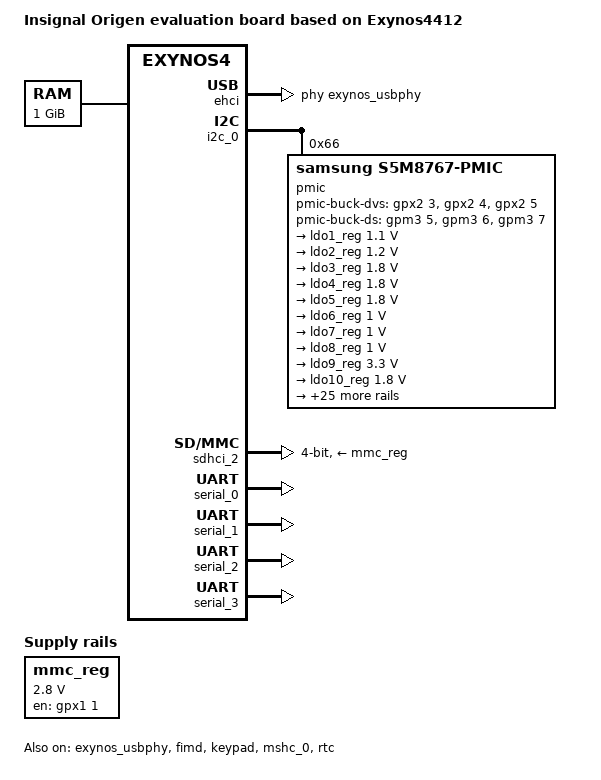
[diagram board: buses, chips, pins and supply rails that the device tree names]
// SPDX-License-Identifier: GPL-2.0
/*
 * Insignal's Exynos4412 based Origen board device tree source
 *
 * Copyright (c) 2012-2013 Samsung Electronics Co., Ltd.
 *		http://www.samsung.com
 *
 * Device tree source file for Insignal's Origen board which is based on
 * Samsung's Exynos4412 SoC.
 */

/dts-v1/;
#include "exynos4412.dtsi"
#include <dt-bindings/clock/samsung,s2mps11.h>
#include <dt-bindings/gpio/gpio.h>
#include <dt-bindings/input/input.h>
#include "exynos-mfc-reserved-memory.dtsi"

/ {
	model = "Insignal Origen evaluation board based on Exynos4412";
	compatible = "insignal,origen4412", "samsung,exynos4412", "samsung,exynos4";

	memory@40000000 {
		device_type = "memory";
		reg = <0x40000000 0x40000000>;
	};

	chosen {
		stdout-path = "serial2:115200n8";
	};

	firmware@203f000 {
		compatible = "samsung,secure-firmware";
		reg = <0x0203F000 0x1000>;
	};

	mmc_reg: regulator-0 {
		compatible = "regulator-fixed";
		regulator-name = "VMEM_VDD_2.8V";
		regulator-min-microvolt = <2800000>;
		regulator-max-microvolt = <2800000>;
		gpio = <&gpx1 1 GPIO_ACTIVE_HIGH>;
		enable-active-high;
	};

	display-timings {
		native-mode = <&timing0>;
		timing0: timing {
			clock-frequency = <47500000>;
			hactive = <1024>;
			vactive = <600>;
			hfront-porch = <64>;
			hback-porch = <16>;
			hsync-len = <48>;
			vback-porch = <64>;
			vfront-porch = <16>;
			vsync-len = <3>;
		};
	};

	fixed-rate-clocks {
		xxti {
			compatible = "samsung,clock-xxti";
			clock-frequency = <0>;
		};

		xusbxti {
			compatible = "samsung,clock-xusbxti";
			clock-frequency = <24000000>;
		};
	};
};

&cpu0 {
	cpu0-supply = <&buck2_reg>;
};

&cpu_thermal {
	cooling-maps {
		cooling_map0: map0 {
			/* Corresponds to 800MHz at freq_table */
			cooling-device = <&cpu0 7 7>, <&cpu1 7 7>,
					 <&cpu2 7 7>, <&cpu3 7 7>;
		};
		cooling_map1: map1 {
			/* Corresponds to 200MHz at freq_table */
			cooling-device = <&cpu0 13 13>, <&cpu1 13 13>,
					 <&cpu2 13 13>, <&cpu3 13 13>;
		};
	};
};

&exynos_usbphy {
	status = "okay";
};

&ehci {
	samsung,vbus-gpio = <&gpx3 5 GPIO_ACTIVE_HIGH>;
	status = "okay";
	phys = <&exynos_usbphy 2>, <&exynos_usbphy 3>;
	phy-names = "hsic0", "hsic1";
};

&fimd {
	pinctrl-0 = <&lcd_clk &lcd_data24 &pwm1_out>;
	pinctrl-names = "default";
	status = "okay";
};

&i2c_0 {
	#address-cells = <1>;
	#size-cells = <0>;
	samsung,i2c-sda-delay = <100>;
	samsung,i2c-max-bus-freq = <20000>;
	pinctrl-0 = <&i2c0_bus>;
	pinctrl-names = "default";
	status = "okay";

	pmic@66 {
		compatible = "samsung,s5m8767-pmic";
		reg = <0x66>;

		s5m8767,pmic-buck-default-dvs-idx = <3>;

		s5m8767,pmic-buck-dvs-gpios = <&gpx2 3 GPIO_ACTIVE_HIGH>,
						 <&gpx2 4 GPIO_ACTIVE_HIGH>,
						 <&gpx2 5 GPIO_ACTIVE_HIGH>;

		s5m8767,pmic-buck-ds-gpios = <&gpm3 5 GPIO_ACTIVE_HIGH>,
						<&gpm3 6 GPIO_ACTIVE_HIGH>,
						<&gpm3 7 GPIO_ACTIVE_HIGH>;

		s5m8767,pmic-buck2-dvs-voltage = <1250000>, <1200000>,
						 <1200000>, <1200000>,
						 <1200000>, <1200000>,
						 <1200000>, <1200000>;

		s5m8767,pmic-buck3-dvs-voltage = <1100000>, <1100000>,
						 <1100000>, <1100000>,
						 <1100000>, <1100000>,
						 <1100000>, <1100000>;

		s5m8767,pmic-buck4-dvs-voltage = <1200000>, <1200000>,
						 <1200000>, <1200000>,
						 <1200000>, <1200000>,
						 <1200000>, <1200000>;
		wakeup-source;

		s5m8767_osc: clocks {
			compatible = "samsung,s5m8767-clk";
			#clock-cells = <1>;
			clock-output-names = "s5m8767_ap", "s5m8767_cp",
					     "s5m8767_bt";
		};

		regulators {
			ldo1_reg: LDO1 {
				regulator-name = "VDD_ALIVE";
				regulator-min-microvolt = <1100000>;
				regulator-max-microvolt = <1100000>;
				regulator-always-on;
				regulator-boot-on;
				op_mode = <1>; /* Normal Mode */
			};

			ldo2_reg: LDO2 {
				regulator-name = "VDDQ_M12";
				regulator-min-microvolt = <1200000>;
				regulator-max-microvolt = <1200000>;
				regulator-always-on;
				op_mode = <1>; /* Normal Mode */
			};

			ldo3_reg: LDO3 {
				regulator-name = "VDDIOAP_18";
				regulator-min-microvolt = <1800000>;
				regulator-max-microvolt = <1800000>;
				regulator-always-on;
				op_mode = <1>; /* Normal Mode */
			};

			ldo4_reg: LDO4 {
				regulator-name = "VDDQ_PRE";
				regulator-min-microvolt = <1800000>;
				regulator-max-microvolt = <1800000>;
				regulator-always-on;
				op_mode = <1>; /* Normal Mode */
			};

			ldo5_reg: LDO5 {
				regulator-name = "VDD18_2M";
				regulator-min-microvolt = <1800000>;
				regulator-max-microvolt = <1800000>;
				regulator-always-on;
				op_mode = <1>; /* Normal Mode */
			};

			ldo6_reg: LDO6 {
				regulator-name = "VDD10_MPLL";
				regulator-min-microvolt = <1000000>;
				regulator-max-microvolt = <1000000>;
				regulator-always-on;
				op_mode = <1>; /* Normal Mode */
			};

			ldo7_reg: LDO7 {
				regulator-name = "VDD10_XPLL";
				regulator-min-microvolt = <1000000>;
				regulator-max-microvolt = <1000000>;
				regulator-always-on;
				op_mode = <1>; /* Normal Mode */
			};

			ldo8_reg: LDO8 {
				regulator-name = "VDD10_MIPI";
				regulator-min-microvolt = <1000000>;
				regulator-max-microvolt = <1000000>;
				regulator-always-on;
				op_mode = <1>; /* Normal Mode */
			};

			ldo9_reg: LDO9 {
				regulator-name = "VDD33_LCD";
				regulator-min-microvolt = <3300000>;
				regulator-max-microvolt = <3300000>;
				regulator-always-on;
				op_mode = <1>; /* Normal Mode */
			};

			ldo10_reg: LDO10 {
				regulator-name = "VDD18_MIPI";
				regulator-min-microvolt = <1800000>;
				regulator-max-microvolt = <1800000>;
				regulator-always-on;
				op_mode = <1>; /* Normal Mode */
			};

			ldo11_reg: LDO11 {
				regulator-name = "VDD18_ABB1";
				regulator-min-microvolt = <1800000>;
				regulator-max-microvolt = <1800000>;
				regulator-always-on;
				op_mode = <1>; /* Normal Mode */
			};

			ldo12_reg: LDO12 {
				regulator-name = "VDD33_UOTG";
				regulator-min-microvolt = <3300000>;
				regulator-max-microvolt = <3300000>;
				regulator-always-on;
				op_mode = <1>; /* Normal Mode */
			};

			ldo13_reg: LDO13 {
				regulator-name = "VDDIOPERI_18";
				regulator-min-microvolt = <1800000>;
				regulator-max-microvolt = <1800000>;
				regulator-always-on;
				op_mode = <1>; /* Normal Mode */
			};

			ldo14_reg: LDO14 {
				regulator-name = "VDD18_ABB02";
				regulator-min-microvolt = <1800000>;
				regulator-max-microvolt = <1800000>;
				regulator-always-on;
				op_mode = <1>; /* Normal Mode */
			};

			ldo15_reg: LDO15 {
				regulator-name = "VDD10_USH";
				regulator-min-microvolt = <1000000>;
				regulator-max-microvolt = <1000000>;
				regulator-always-on;
				op_mode = <1>; /* Normal Mode */
			};

			ldo16_reg: LDO16 {
				regulator-name = "VDD18_HSIC";
				regulator-min-microvolt = <1800000>;
				regulator-max-microvolt = <1800000>;
				regulator-always-on;
				op_mode = <1>; /* Normal Mode */
			};

			ldo17_reg: LDO17 {
				regulator-name = "VDDIOAP_MMC012_28";
				regulator-min-microvolt = <2800000>;
				regulator-max-microvolt = <2800000>;
				regulator-always-on;
				op_mode = <1>; /* Normal Mode */
			};

			ldo18_reg: LDO18 {
				regulator-name = "VDDIOPERI_28";
				regulator-min-microvolt = <2800000>;
				regulator-max-microvolt = <2800000>;
				regulator-always-on;
				op_mode = <1>; /* Normal Mode */
			};

			ldo19_reg: LDO19 {
				regulator-name = "DVDD25";
				regulator-min-microvolt = <2500000>;
				regulator-max-microvolt = <2500000>;
				regulator-always-on;
				op_mode = <1>; /* Normal Mode */
			};

			ldo20_reg: LDO20 {
				regulator-name = "VDD28_CAM";
				regulator-min-microvolt = <2800000>;
				regulator-max-microvolt = <2800000>;
				regulator-always-on;
				op_mode = <1>; /* Normal Mode */
			};

			ldo21_reg: LDO21 {
				regulator-name = "VDD28_AF";
				regulator-min-microvolt = <2800000>;
				regulator-max-microvolt = <2800000>;
				regulator-always-on;
				op_mode = <1>; /* Normal Mode */
			};

			ldo22_reg: LDO22 {
				regulator-name = "VDDA28_2M";
				regulator-min-microvolt = <2800000>;
				regulator-max-microvolt = <2800000>;
				regulator-always-on;
				op_mode = <1>; /* Normal Mode */
			};

			ldo23_reg: LDO23 {
				regulator-name = "VDD28_TF";
				regulator-min-microvolt = <2800000>;
				regulator-max-microvolt = <2800000>;
				regulator-always-on;
				op_mode = <1>; /* Normal Mode */
			};

			ldo24_reg: LDO24 {
				regulator-name = "VDD33_A31";
				regulator-min-microvolt = <3300000>;
				regulator-max-microvolt = <3300000>;
				regulator-always-on;
				op_mode = <1>; /* Normal Mode */
			};

			ldo25_reg: LDO25 {
				regulator-name = "VDD18_CAM";
				regulator-min-microvolt = <1800000>;
				regulator-max-microvolt = <1800000>;
				regulator-always-on;
				op_mode = <1>; /* Normal Mode */
			};

			ldo26_reg: LDO26 {
				regulator-name = "VDD18_A31";
				regulator-min-microvolt = <1800000>;
				regulator-max-microvolt = <1800000>;
				regulator-always-on;
				op_mode = <1>; /* Normal Mode */
			};

			ldo27_reg: LDO27 {
				regulator-name = "GPS_1V8";
				regulator-min-microvolt = <1800000>;
				regulator-max-microvolt = <1800000>;
				regulator-always-on;
				op_mode = <1>; /* Normal Mode */
			};

			ldo28_reg: LDO28 {
				regulator-name = "DVDD12";
				regulator-min-microvolt = <1200000>;
				regulator-max-microvolt = <1200000>;
				regulator-always-on;
				op_mode = <1>; /* Normal Mode */
			};

			buck1_reg: BUCK1 {
				regulator-name = "VDD_MIF";
				regulator-min-microvolt = <950000>;
				regulator-max-microvolt	= <1100000>;
				regulator-always-on;
				regulator-boot-on;
				op_mode = <1>; /* Normal Mode */
			};

			buck2_reg: BUCK2 {
				regulator-name = "VDD_ARM";
				regulator-min-microvolt = <900000>;
				regulator-max-microvolt	= <1350000>;
				regulator-always-on;
				regulator-boot-on;
				op_mode = <1>; /* Normal Mode */
			};

			buck3_reg: BUCK3 {
				regulator-name = "VDD_INT";
				regulator-min-microvolt = <900000>;
				regulator-max-microvolt	= <1200000>;
				regulator-always-on;
				regulator-boot-on;
				op_mode = <1>; /* Normal Mode */
			};

			buck4_reg: BUCK4 {
				regulator-name = "VDD_G3D";
				regulator-min-microvolt = <750000>;
				regulator-max-microvolt	= <1500000>;
				regulator-always-on;
				regulator-boot-on;
				op_mode = <1>; /* Normal Mode */
			};

			buck5_reg: BUCK5 {
				regulator-name = "VDD_M12";
				regulator-min-microvolt = <750000>;
				regulator-max-microvolt	= <1500000>;
				regulator-always-on;
				regulator-boot-on;
				op_mode = <1>; /* Normal Mode */
			};

			buck6_reg: BUCK6 {
				regulator-name = "VDD12_5M";
				regulator-min-microvolt = <750000>;
				regulator-max-microvolt	= <1500000>;
				regulator-always-on;
				regulator-boot-on;
				op_mode = <1>; /* Normal Mode */
			};

			buck9_reg: BUCK9 {
				regulator-name = "VDDF28_EMMC";
				regulator-min-microvolt = <750000>;
				regulator-max-microvolt	= <3000000>;
				regulator-always-on;
				regulator-boot-on;
				op_mode = <1>; /* Normal Mode */
			};
		};
	};
};

&keypad {
	samsung,keypad-num-rows = <3>;
	samsung,keypad-num-columns = <2>;
	linux,keypad-no-autorepeat;
	wakeup-source;
	pinctrl-0 = <&keypad_rows &keypad_cols>;
	pinctrl-names = "default";
	status = "okay";

	key-home {
		keypad,row = <0>;
		keypad,column = <0>;
		linux,code = <KEY_HOME>;
	};

	key-down {
		keypad,row = <0>;
		keypad,column = <1>;
		linux,code = <KEY_DOWN>;
	};

	key-up {
		keypad,row = <1>;
		keypad,column = <0>;
		linux,code = <KEY_UP>;
	};

	key-menu {
		keypad,row = <1>;
		keypad,column = <1>;
		linux,code = <KEY_MENU>;
	};

	key-back {
		keypad,row = <2>;
		keypad,column = <0>;
		linux,code = <KEY_BACK>;
	};

	key-enter {
		keypad,row = <2>;
		keypad,column = <1>;
		linux,code = <KEY_ENTER>;
	};
};

&mshc_0 {
	pinctrl-0 = <&sd4_clk &sd4_cmd &sd4_bus4 &sd4_bus8>;
	pinctrl-names = "default";
	status = "okay";

	broken-cd;
	card-detect-delay = <200>;
	samsung,dw-mshc-ciu-div = <3>;
	samsung,dw-mshc-sdr-timing = <2 3>;
	samsung,dw-mshc-ddr-timing = <1 2>;
	bus-width = <8>;
	cap-mmc-highspeed;
};

&pinctrl_1 {
	keypad_rows: keypad-rows {
		samsung,pins = "gpx2-0", "gpx2-1", "gpx2-2";
		samsung,pin-function = <EXYNOS_PIN_FUNC_3>;
		samsung,pin-pud = <EXYNOS_PIN_PULL_UP>;
		samsung,pin-drv = <EXYNOS4_PIN_DRV_LV1>;
	};

	keypad_cols: keypad-cols {
		samsung,pins = "gpx1-0", "gpx1-1";
		samsung,pin-function = <EXYNOS_PIN_FUNC_3>;
		samsung,pin-pud = <EXYNOS_PIN_PULL_NONE>;
		samsung,pin-drv = <EXYNOS4_PIN_DRV_LV1>;
	};
};

&rtc {
	status = "okay";
	clocks = <&clock CLK_RTC>, <&s5m8767_osc S2MPS11_CLK_AP>;
	clock-names = "rtc", "rtc_src";
};

&sdhci_2 {
	bus-width = <4>;
	pinctrl-0 = <&sd2_clk &sd2_cmd &sd2_bus4 &sd2_cd>;
	pinctrl-names = "default";
	vmmc-supply = <&mmc_reg>;
	status = "okay";
};

&serial_0 {
	status = "okay";
};

&serial_1 {
	status = "okay";
};

&serial_2 {
	status = "okay";
};

&serial_3 {
	status = "okay";
};
